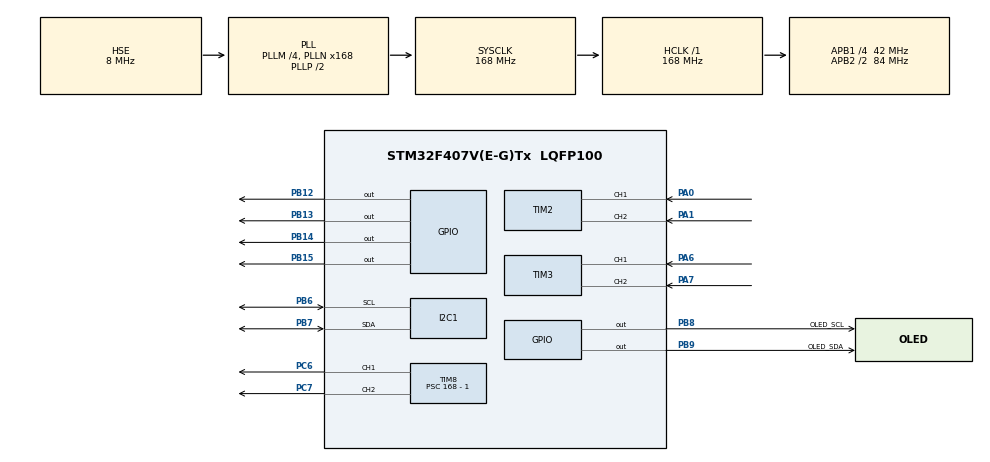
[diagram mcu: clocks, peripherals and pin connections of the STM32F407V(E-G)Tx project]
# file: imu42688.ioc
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I2C1.DualAddressMode=I2C_DUALADDRESS_DISABLE
I2C1.I2C_Mode=I2C_Fast
Mcu.Family=STM32F4
Mcu.Name=STM32F407V(E-G)Tx
Mcu.Package=LQFP100
NVIC.PriorityGroup=NVIC_PRIORITYGROUP_4
NVIC.TIM6_DAC_IRQn=true\:0\:0\:true\:false\:true\:true\:true\:true
NVIC.TIM8_BRK_TIM12_IRQn=true\:1\:0\:true\:false\:true\:true\:true\:true
NVIC.TIM8_TRG_COM_TIM14_IRQn=true\:0\:0\:true\:false\:true\:true\:true\:true
PA0-WKUP.Signal=S_TIM2_CH1_ETR
PA1.Signal=S_TIM2_CH2
PA13.Mode=Serial_Wire
PA13.Signal=SYS_JTMS-SWDIO
PA14.Mode=Serial_Wire
PA14.Signal=SYS_JTCK-SWCLK
PA6.Signal=S_TIM3_CH1
PA7.Signal=S_TIM3_CH2
PB12.Signal=GPIO_Output
PB13.Signal=GPIO_Output
PB14.Signal=GPIO_Output
PB15.Signal=GPIO_Output
PB6.GPIO_Speed=GPIO_SPEED_FREQ_HIGH
PB6.Mode=I2C
PB6.Signal=I2C1_SCL
PB7.GPIO_Speed=GPIO_SPEED_FREQ_HIGH
PB7.Mode=I2C
PB7.Signal=I2C1_SDA
PB8.GPIO_Label=OLED_SCL
PB8.GPIO_ModeDefaultOutputPP=GPIO_MODE_OUTPUT_OD
PB8.GPIO_PuPd=GPIO_NOPULL
PB8.GPIO_Speed=GPIO_SPEED_FREQ_MEDIUM
PB8.PinState=GPIO_PIN_RESET
PB8.Signal=GPIO_Output
PB9.GPIO_Label=OLED_SDA
PB9.GPIO_ModeDefaultOutputPP=GPIO_MODE_OUTPUT_OD
PB9.GPIO_PuPd=GPIO_NOPULL
PB9.GPIO_Speed=GPIO_SPEED_FREQ_MEDIUM
PB9.PinState=GPIO_PIN_RESET
PB9.Signal=GPIO_Output
PC14-OSC32_IN.Mode=LSE-External-Oscillator
PC14-OSC32_IN.Signal=RCC_OSC32_IN
PC15-OSC32_OUT.Mode=LSE-External-Oscillator
PC15-OSC32_OUT.Signal=RCC_OSC32_OUT
PC6.GPIO_Speed=GPIO_SPEED_FREQ_MEDIUM
PC6.Signal=S_TIM8_CH1
PC7.GPIO_Speed=GPIO_SPEED_FREQ_MEDIUM
PC7.Signal=S_TIM8_CH2
PH0-OSC_IN.Mode=HSE-External-Oscillator
PH0-OSC_IN.Signal=RCC_OSC_IN
PH1-OSC_OUT.Mode=HSE-External-Oscillator
PH1-OSC_OUT.Signal=RCC_OSC_OUT
ProjectManager.HeapSize=0x200
ProjectManager.StackSize=0x400
ProjectManager.TargetToolchain=CMake
RCC.48MHZClocksFreq_Value=84000000
RCC.AHBFreq_Value=168000000
RCC.APB1CLKDivider=RCC_HCLK_DIV4
RCC.APB1Freq_Value=42000000
RCC.APB1TimFreq_Value=84000000
RCC.APB2CLKDivider=RCC_HCLK_DIV2
RCC.APB2Freq_Value=84000000
RCC.APB2TimFreq_Value=168000000
RCC.CortexFreq_Value=168000000
RCC.HCLKFreq_Value=168000000
RCC.HSE_VALUE=8000000
RCC.HSI_VALUE=16000000
RCC.PLLM=4
RCC.PLLN=168
RCC.PLLSourceVirtual=RCC_PLLSOURCE_HSE
RCC.SYSCLKFreq_VALUE=168000000
RCC.SYSCLKSource=RCC_SYSCLKSOURCE_PLLCLK
RCC.VCOOutputFreq_Value=336000000
SH.S_TIM2_CH1_ETR.0=TIM2_CH1,Encoder_Interface
SH.S_TIM2_CH2.0=TIM2_CH2,Encoder_Interface
SH.S_TIM3_CH1.0=TIM3_CH1,Encoder_Interface
SH.S_TIM3_CH2.0=TIM3_CH2,Encoder_Interface
SH.S_TIM8_CH1.0=TIM8_CH1,PWM Generation1 CH1
SH.S_TIM8_CH2.0=TIM8_CH2,PWM Generation2 CH2
TIM12.Period=1000-1
TIM12.Prescaler=84-1
TIM14.AutoReloadPreload=TIM_AUTORELOAD_PRELOAD_DISABLE
TIM14.Period=1000-1
TIM14.Prescaler=84-1
TIM2.EncoderMode=TIM_ENCODERMODE_TI12
TIM3.EncoderMode=TIM_ENCODERMODE_TI12
TIM6.Period=1000-1
TIM6.Prescaler=84-1
TIM8.AutoReloadPreload=TIM_AUTORELOAD_PRELOAD_DISABLE
TIM8.Channel-PWM\ Generation1\ CH1=TIM_CHANNEL_1
TIM8.Channel-PWM\ Generation2\ CH2=TIM_CHANNEL_2
TIM8.Period=100 - 1
TIM8.Prescaler=168 - 1
TIM8.Pulse-PWM\ Generation1\ CH1=0
TIM8.Pulse-PWM\ Generation2\ CH2=0
VP_TIM12_VS_ClockSourceINT.Mode=Internal
VP_TIM14_VS_ClockSourceINT.Mode=Enable_Timer
VP_TIM6_VS_ClockSourceINT.Mode=Enable_Timer
VP_TIM8_VS_ClockSourceINT.Mode=Internal
board=custom

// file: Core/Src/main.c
/* USER CODE BEGIN Header */
/**
  ******************************************************************************
  * @file           : main.c
  * @brief          : Main program body
  ******************************************************************************
  * @attention
  *
  * Copyright (c) 2025 STMicroelectronics.
  * All rights reserved.
  *
  * This software is licensed under terms that can be found in the LICENSE file
  * in the root directory of this software component.
  * If no LICENSE file comes with this software, it is provided AS-IS.
  *
  ******************************************************************************
  */
/* USER CODE END Header */
#include "main.h"
#include "i2c.h"
#include "tim.h"
#include "gpio.h"

/* USER CODE BEGIN Includes */
#include "Key.h"
#include "OLED.h"
#include "icm42688.h"
#include "TMT.h"
#include "Task.h"
#include "Motor.h"
#include "PID.h"
/* USER CODE END Includes */

void SystemClock_Config(void);

/* USER CODE BEGIN 0 */
uint8_t KeyNum = 0;
int8_t IDCheck = 0;
int16_t speed = 0;
icm42688_data_t sensor;
int8_t Speed = 0;
float wheel_circ = 3.1415926f * 0.065f;       // 0.2042 m
float pulses_per_rev = 22 * 30;              // 660 脉冲/轮圈
float control_dt = 0.01f;

PID_t pidAngle = {
  .Kp = 8.8f,      // 初始值，根据实际调
  .Ki = 0.01f,      // 初始 0，可后续微调
  .Kd = 4.8f,     // 初始值，根据振荡情况调
  .OutMax = 200,   // 根据 PWM 定时器最大值设置
  .OutMin = -200,
  .Error0 = 0,
  .Error1 = 0,
  .ErrorInt = 0,
  .Target = 0,
  .Actual = 0,
};
PID_t pidSpeed = {
  .Kp = 5.0f,      // 初始值，根据实际调
  .Ki = 0.0f,      // 初始 0，可后续微调
  .Kd = 0.5f,     // 初始值，根据振荡情况调
  .OutMax = 50,
  .OutMin = -50,
  .Error0 = 0,
  .Error1 = 0,
  .ErrorInt = 0,
  .Target = 0,
  .Actual = 0,
};
/* USER CODE END 0 */

int main(void)
{

  /* MCU Configuration--------------------------------------------------------*/

  /* Reset of all peripherals, Initializes the Flash interface and the Systick. */
  HAL_Init();

  /* Configure the system clock */
  SystemClock_Config();

  /* Initialize all configured peripherals */
  MX_GPIO_Init();
  MX_I2C1_Init();
  MX_TIM8_Init();
  MX_TIM14_Init();
  MX_TIM12_Init();
  MX_TIM6_Init();
  MX_TIM2_Init();
  MX_TIM3_Init();
  /* USER CODE BEGIN 2 */
  tmt_init();
  HAL_Delay(50);
  OLED_Init();

  HAL_TIM_Base_Start_IT(&htim14);

  HAL_TIM_Base_Start_IT(&htim6);
  HAL_TIM_Encoder_Start(&htim2, TIM_CHANNEL_1);
  HAL_TIM_Encoder_Start(&htim2, TIM_CHANNEL_2);
  HAL_TIM_Encoder_Start(&htim3, TIM_CHANNEL_1);
  HAL_TIM_Encoder_Start(&htim3, TIM_CHANNEL_2);

  HAL_TIM_PWM_Start(&htim8, TIM_CHANNEL_1);
  HAL_TIM_PWM_Start(&htim8, TIM_CHANNEL_2);

  if (ICM42688_Init() != ICM42688_OK)
  {
    OLED_Printf(0, 0, OLED_6X8, "ICM42688 init failed!");
    OLED_Update();
    while (1);
  }
  Attitude_Init(); // 初始化姿态解算
  OLED_Printf(0, 0, OLED_6X8, "ICM42688 init success");
  OLED_Update();

  HAL_TIM_Base_Start_IT(&htim12);

  // tmt.create(Task1, 1);
  tmt.create(Task_OLED, 100);
  tmt.create(Task_Attitude, 100);
  /* USER CODE END 2 */

  /* Infinite loop */
  /* USER CODE BEGIN WHILE */
  while (1)
  {
    tmt.run();

    /* USER CODE END WHILE */

  }
}

void SystemClock_Config(void)
{
  RCC_OscInitTypeDef RCC_OscInitStruct = {0};
  RCC_ClkInitTypeDef RCC_ClkInitStruct = {0};

  /** Configure the main internal regulator output voltage
  */
  __HAL_RCC_PWR_CLK_ENABLE();
  __HAL_PWR_VOLTAGESCALING_CONFIG(PWR_REGULATOR_VOLTAGE_SCALE1);

  /** Initializes the RCC Oscillators according to the specified parameters
  * in the RCC_OscInitTypeDef structure.
  */
  RCC_OscInitStruct.OscillatorType = RCC_OSCILLATORTYPE_HSE;
  RCC_OscInitStruct.HSEState = RCC_HSE_ON;
  RCC_OscInitStruct.PLL.PLLState = RCC_PLL_ON;
  RCC_OscInitStruct.PLL.PLLSource = RCC_PLLSOURCE_HSE;
  RCC_OscInitStruct.PLL.PLLM = 4;
  RCC_OscInitStruct.PLL.PLLN = 168;
  RCC_OscInitStruct.PLL.PLLP = RCC_PLLP_DIV2;
  RCC_OscInitStruct.PLL.PLLQ = 4;
  if (HAL_RCC_OscConfig(&RCC_OscInitStruct) != HAL_OK)
  {
    Error_Handler();
  }

  /** Initializes the CPU, AHB and APB buses clocks
  */
  RCC_ClkInitStruct.ClockType = RCC_CLOCKTYPE_HCLK|RCC_CLOCKTYPE_SYSCLK
                              |RCC_CLOCKTYPE_PCLK1|RCC_CLOCKTYPE_PCLK2;
  RCC_ClkInitStruct.SYSCLKSource = RCC_SYSCLKSOURCE_PLLCLK;
  RCC_ClkInitStruct.AHBCLKDivider = RCC_SYSCLK_DIV1;
  RCC_ClkInitStruct.APB1CLKDivider = RCC_HCLK_DIV4;
  RCC_ClkInitStruct.APB2CLKDivider = RCC_HCLK_DIV2;

  if (HAL_RCC_ClockConfig(&RCC_ClkInitStruct, FLASH_LATENCY_5) != HAL_OK)
  {
    Error_Handler();
  }
}

/* USER CODE BEGIN 4 */

void HAL_TIM_PeriodElapsedCallback(TIM_HandleTypeDef *htim)
{
  static uint16_t count6 = 0;
  static uint16_t count12 = 0;

  if (htim == (&htim12))
  {
    count12++;
    if(count12 >= 10)
    {
      count12 = 0;

      int16_t cntL = Encoder_GetLeft();
      int16_t cntR = Encoder_GetRight();

      /** 外环速度环 **/
      float speed_avg = (float)(cntL + cntR) * 0.5f;
      float speed_m_s = speed_avg * wheel_circ / pulses_per_rev / control_dt;
      pidSpeed.Target = Speed;
      pidSpeed.Actual = speed_m_s;
      PID_Update(&pidSpeed);
      float angle_offset = pidSpeed.Out;

      /** 内环直立环 **/
      float roll = car_angles.roll;
      pidAngle.Target = -angle_offset;       // 目标直立z
      pidAngle.Actual = roll;               // 反馈
      PID_Update(&pidAngle);
      float pwm = pidAngle.Out;

      Motor_SetLeftPWM(pwm);
      Motor_SetRightPWM(pwm);

    }
  }
  if (htim == (&htim14))
  {
    tmt.tick();
  }
  if (htim == (&htim6))
  {
    count6++;
    if (count6 >= 5)
    {
      count6 = 0;
      ICM42688_Get6Axis(&sensor);
      Complementary_Filter(&sensor, &car_angles);
    }
  }
}

/* USER CODE END 4 */

void Error_Handler(void)
{
  __disable_irq();
  while (1)
  {
  }
}
